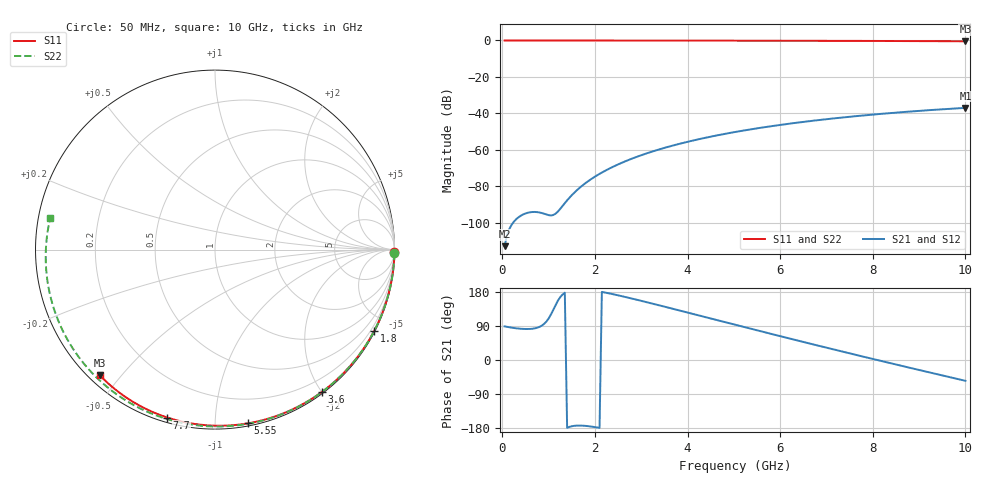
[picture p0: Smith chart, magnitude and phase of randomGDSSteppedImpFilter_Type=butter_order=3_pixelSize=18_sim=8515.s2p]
! freq	dB(S11)	phase(S11)	dB(S12)	phase(S12)
!  dB(S21)	phase(S21)	dB(S22)	phase(S22)
!S-par simulation data
#  GHz  S  DB  R 50
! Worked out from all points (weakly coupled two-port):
!   200 points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, 50 MHz to 10 GHz, reference 50 ohm
!   highest |S21| = -37.02 dB at 10 GHz (marker M1); lowest = -112.9 dB at 50 MHz (marker M2)
!   lowest |S11| = -0.4 dB at 10 GHz (marker M3), VSWR 38.78, Z = 1.54 - j22 ohm
!   |S11| at or under -10 dB: nowhere
!   |S22| runs from -0.6 to 0.0 dB; largest |S21 - S12| = 0
!   S11 on the Smith chart (normalised r, x): 50 MHz: open; 1.8 GHz: 0.04, -4.14; 3.6 GHz: 0.02, -2.00; 5.55 GHz: 0.02, -1.21; 7.7 GHz: 0.02, -0.76; 10 GHz: 0.03, -0.44
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0.05  -0.00 -0.8  -112.95 88.7  -112.95 88.7  -0.00 -1.1
0.45  -0.01 -6.9  -95.54 82.0  -95.54 82.0  -0.01 -10.1
0.85  -0.02 -12.9  -94.73 90.4  -94.73 90.4  -0.02 -19.0
1.25  -0.02 -19.0  -92.48 165.7  -92.48 165.7  -0.03 -27.8
1.7  -0.03 -25.7  -80.26 -173.1  -80.26 -173.1  -0.05 -37.5
1.75  -0.03 -26.4  -79.24 -173.4  -79.24 -173.4  -0.05 -38.6
1.8  -0.03 -27.1  -78.26 -173.9  -78.26 -173.9  -0.05 -39.7
2.1  -0.04 -31.6  -73.25 -179.2  -73.25 -179.2  -0.06 -46.1
2.5  -0.05 -37.4  -68.06 170.7  -68.06 170.7  -0.07 -54.4
2.9  -0.06 -43.2  -63.93 159.2  -63.93 159.2  -0.08 -62.6
3.4  -0.07 -50.3  -59.73 144.0  -59.73 144.0  -0.10 -72.6
3.6  -0.07 -53.1  -58.27 137.8  -58.27 137.8  -0.10 -76.6
4.3  -0.09 -62.7  -53.90 115.9  -53.90 115.9  -0.13 -90.0
5.05  -0.11 -72.8  -50.16 92.4  -50.16 92.4  -0.16 -103.8
5.55  -0.13 -79.3  -48.06 76.8  -48.06 76.8  -0.18 -112.8
6.1  -0.15 -86.3  -46.03 59.9  -46.03 59.9  -0.21 -122.5
6.7  -0.18 -93.8  -44.10 41.6  -44.10 41.6  -0.25 -132.9
7.2  -0.21 -99.9  -42.68 26.5  -42.68 26.5  -0.29 -141.5
7.7  -0.24 -105.9  -41.41 11.6  -41.41 11.6  -0.34 -150.1
8.35  -0.29 -113.5  -39.94 -7.5  -39.94 -7.5  -0.40 -161.3
9.2  -0.36 -123.4  -38.30 -32.1  -38.30 -32.1  -0.49 -176.3
10  -0.45 -132.5  -37.02 -54.9  -37.02 -54.9  -0.59 169.0
